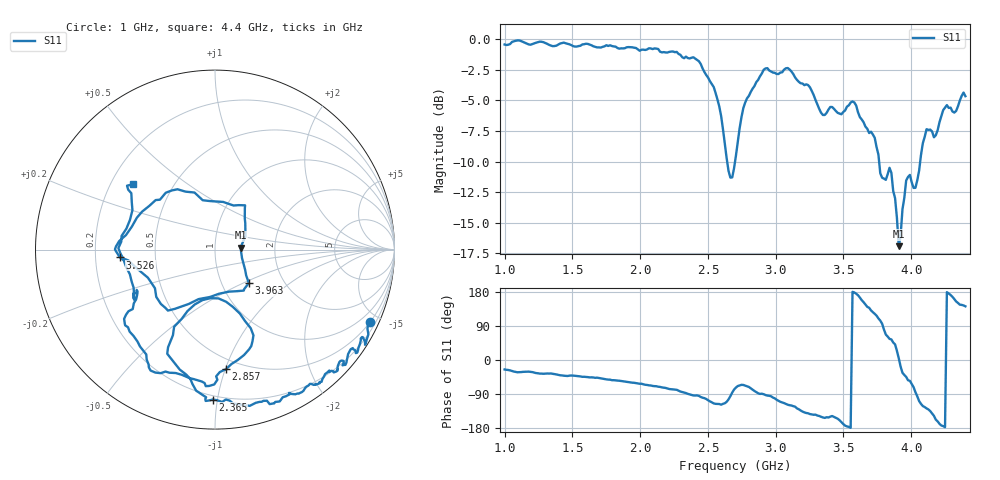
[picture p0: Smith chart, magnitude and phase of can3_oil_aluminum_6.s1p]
# MHz S MA R 50
!  freq  S11
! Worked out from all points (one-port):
!   250 points, 1 GHz to 4.4 GHz, reference 50 ohm
!   lowest |S11| = -16.9 dB at 3.908 GHz (marker M1), VSWR 1.33, Z = 66.6 + j1.48 ohm
!   |S11| at or under -10 dB: 2.642 GHz to 2.7 GHz (58.21 MHz wide, 2.18 % of centre); 3.763 GHz to 4.067 GHz (303.2 MHz wide, 7.74 % of centre)
!   S11 on the Smith chart (normalised r, x): 1 GHz: 0.51, -4.46; 2.365 GHz: 0.18, -0.97; 2.857 GHz: 0.42, -1.01; 3.526 GHz: 0.31, -0.04; 3.963 GHz: 1.34, -0.54; 4.4 GHz: 0.29, +0.32
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1000  0.9527 -25.0
1095.582  0.9898 -32.4
1436.948  0.9698 -41.5
1860.241  0.919 -55.5
2283.534  0.872 -81.1
2365.462  0.8355 -90.9
2542.972  0.6385 -114.6
2665.863  0.272 -95.4
2706.827  0.3343 -72.7
2761.446  0.5235 -65.8
2857.028  0.6686 -84.7
2938.956  0.7625 -93.9
3130.12  0.7213 -121.8
3225.703  0.6548 -139.8
3348.594  0.4906 -151.6
3416.867  0.5289 -147.8
3526.104  0.5307 -175.3
3553.414  0.5516 -179.0
3730.924  0.3959 121.9
3785.542  0.2717 95.8
3853.815  0.2846 54.2
3908.434  0.1426 4.4
3963.052  0.2646 -44.6
3976.707  0.2737 -53.5
4031.325  0.247 -84.9
4126.908  0.4263 -130.4
4263.454  0.5384 179.1
4400  0.5857 141.7
